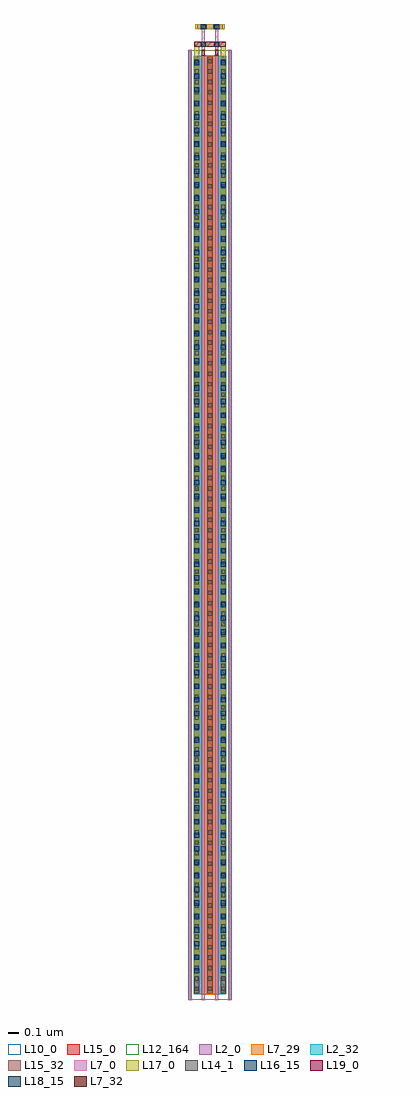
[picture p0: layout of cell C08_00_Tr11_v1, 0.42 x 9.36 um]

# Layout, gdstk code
import gdstk
lib = gdstk.Library(unit=1e-6, precision=1e-09)
def R(c, l, rs):  # rectangles x0, y0, x1, y1
    for r in rs: c.add(gdstk.rectangle(r[:2], r[2:], *l))
def A(c, l, x, y, w, h, nx, ny, dx, dy):  # array of equal rectangles
    R(c, l, [(x+i*dx, y+j*dy, x+i*dx+w, y+j*dy+h) for i in range(nx) for j in range(ny)])
L2_0 = (2, 0)
L2_32 = (2, 32)
L7_0 = (7, 0)
L7_29 = (7, 29)
L7_32 = (7, 32)
L10_0 = (10, 0)
L12_164 = (12, 164)
L14_1 = (14, 1)
L15_0 = (15, 0)
L15_32 = (15, 32)
L16_15 = (16, 15)
L17_0 = (17, 0)
L18_15 = (18, 15)
L19_0 = (19, 0)

c08_00_tr11_v1_srf_pmos_ = lib.new_cell('C08_00_Tr11_v1:SRF_Pmos:SRF_Source_ViaM1M2:SRF_ViaM1M2')
R(c08_00_tr11_v1_srf_pmos_, L15_0, [(0,-8.742,0.05,0.082)])
A(c08_00_tr11_v1_srf_pmos_, L16_15, 0, -8.71, 0.05, 0.05, 1, 68, 0, 0.13)
R(c08_00_tr11_v1_srf_pmos_, L17_0, [(0,-8.742,0.05,0.082)])

c_c08_00_tr11_v1_srf_pmos_ = lib.new_cell('C08_00_Tr11_v1:SRF_Pmos:SRF_Source_ViaM1M2')
c_c08_00_tr11_v1_srf_pmos_.add(gdstk.Reference(c08_00_tr11_v1_srf_pmos_, (-0.025,4.33)))

c_c08_00_tr11_v1_srf_pmos__ = lib.new_cell('C08_00_Tr11_v1:SRF_Pmos:SRF_Gate_ViaM0Mx:SRF_ViaM0M1')
R(c_c08_00_tr11_v1_srf_pmos__, L7_0, [(-0.01,-0.004,0.15,0.044)])
R(c_c08_00_tr11_v1_srf_pmos__, L14_1, [(0,0,0.04,0.04), (0.1,0,0.14,0.04)])
R(c_c08_00_tr11_v1_srf_pmos__, L15_0, [(-0.021,-0.005,0.161,0.045)])

c_c08_00_tr11_v1_srf_pmos___ = lib.new_cell('C08_00_Tr11_v1:SRF_Pmos:SRF_Gate_ViaM0Mx:SRF_ViaM1M2')
R(c_c08_00_tr11_v1_srf_pmos___, L15_0, [(-0.032,0,0.212,0.05)])
R(c_c08_00_tr11_v1_srf_pmos___, L16_15, [(0,0,0.05,0.05), (0.13,0,0.18,0.05)])
R(c_c08_00_tr11_v1_srf_pmos___, L17_0, [(-0.032,0,0.212,0.05)])

c_c08_00_tr11_v1_srf_pmos____ = lib.new_cell('C08_00_Tr11_v1:SRF_Pmos:SRF_Gate_ViaM0Mx')
c_c08_00_tr11_v1_srf_pmos____.add(gdstk.Reference(c_c08_00_tr11_v1_srf_pmos__, (-0.07,-0.02)))
c_c08_00_tr11_v1_srf_pmos____.add(gdstk.Reference(c_c08_00_tr11_v1_srf_pmos___, (-0.09,-0.025)))

c08_00_tr11_v1_srf_pmos = lib.new_cell('C08_00_Tr11_v1:SRF_Pmos')
R(c08_00_tr11_v1_srf_pmos, L2_0, [(-0.076,0.057,0.232,9.057)])
R(c08_00_tr11_v1_srf_pmos, L2_32, [(-0.076,0.057,0,9.057), (0.156,0.057,0.232,9.057)])
A(c08_00_tr11_v1_srf_pmos, L7_0, -0.126, 0, 0.03, 9.114, 4, 1, 0.126, 0)
R(c08_00_tr11_v1_srf_pmos, L7_0, [(0,9.114,0.03,9.314), (0.126,9.114,0.156,9.314), (-0.022,9.314,0.178,9.362)])
R(c08_00_tr11_v1_srf_pmos, L7_29, [(-0.005,0.052,0.161,9.062)])
R(c08_00_tr11_v1_srf_pmos, L7_32, [(0,9.057,0.03,9.114), (0.126,9.057,0.156,9.114)])
R(c08_00_tr11_v1_srf_pmos, L10_0, [(-0.132,0.001,0.288,9.113)])
R(c08_00_tr11_v1_srf_pmos, L12_164, [(-0.111,0.001,0.267,9.113)])
A(c08_00_tr11_v1_srf_pmos, L14_1, -0.068, 0.087, 0.04, 0.04, 3, 90, 0.126, 0.1)
R(c08_00_tr11_v1_srf_pmos, L15_0, [(-0.073,0.066,-0.023,9.048), (-0.073,0.066,-0.023,9.048), (0.053,0.066,0.103,9.048), (0.053,0.066,0.103,9.048), (0.179,0.066,0.229,9.048), (0.179,0.066,0.229,9.048)])
A(c08_00_tr11_v1_srf_pmos, L15_32, -0.073, 0.066, 0.05, 8.982, 3, 1, 0.126, 0)
R(c08_00_tr11_v1_srf_pmos, L17_0, [(-0.073,9.048,-0.023,9.143), (0.179,9.048,0.229,9.143), (-0.073,9.143,0.229,9.193), (-0.064,9.313,0.22,9.363)])
c08_00_tr11_v1_srf_pmos.add(gdstk.Reference(c_c08_00_tr11_v1_srf_pmos_, (-0.048,4.636)))
c08_00_tr11_v1_srf_pmos.add(gdstk.Reference(c_c08_00_tr11_v1_srf_pmos_, (0.204,4.636)))
c08_00_tr11_v1_srf_pmos.add(gdstk.Reference(c_c08_00_tr11_v1_srf_pmos____, (0.078,9.338)))

c08_00_tr11_v1_srf_sourc = lib.new_cell('C08_00_Tr11_v1:SRF_Source_ViaM2M3:SRF_ViaM2M3')
R(c08_00_tr11_v1_srf_sourc, L17_0, [(-0.032,0,0.212,0.05)])
R(c08_00_tr11_v1_srf_sourc, L18_15, [(0,0,0.05,0.05), (0.13,0,0.18,0.05)])
R(c08_00_tr11_v1_srf_sourc, L19_0, [(-0.032,0,0.212,0.05)])

c_c08_00_tr11_v1_srf_sourc = lib.new_cell('C08_00_Tr11_v1:SRF_Source_ViaM2M3')
c_c08_00_tr11_v1_srf_sourc.add(gdstk.Reference(c08_00_tr11_v1_srf_sourc, (-0.09,-0.025)))

c08_00_tr11_v1 = lib.new_cell('C08_00_Tr11_v1')
R(c08_00_tr11_v1, L19_0, [(-0.073,9.143,0.229,9.193)])
c08_00_tr11_v1.add(gdstk.Reference(c08_00_tr11_v1_srf_pmos, (0,0)))
c08_00_tr11_v1.add(gdstk.Reference(c_c08_00_tr11_v1_srf_sourc, (0.078,9.168)))

lib.write_gds('C08_00_Tr11_v1.gds')
